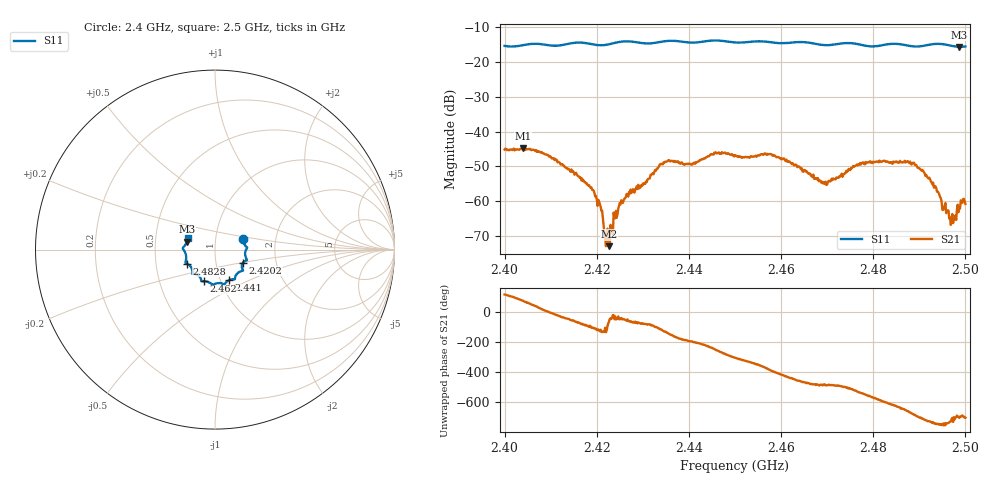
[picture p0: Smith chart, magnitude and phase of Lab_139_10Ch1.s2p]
# Hz S RI R 50
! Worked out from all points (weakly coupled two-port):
!   601 points, 2.4 GHz to 2.5 GHz, reference 50 ohm
!   highest |S21| = -44.75 dB at 2.404 GHz (marker M1); lowest = -72.8 dB at 2.4227 GHz (marker M2)
!   lowest |S11| = -15.8 dB at 2.4987 GHz (marker M3), VSWR 1.39, Z = 36.3 + j3.26 ohm
!   |S11| at or under -10 dB: start of sweep to end of sweep
!   S12 and S22 are empty: the file has one direction only
!   S11 on the Smith chart (normalised r, x): 2.4 GHz: 1.36, +0.17; 2.4202 GHz: 1.35, -0.20; 2.441 GHz: 1.10, -0.39; 2.462 GHz: 0.83, -0.30; 2.4828 GHz: 0.72, -0.12; 2.5 GHz: 0.73, +0.09
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2.4e9  0.1565 0.0608  -0.00219 0.00507  0 0  0 0
2.404e9  0.1711 0.0196  0.00177 0.00551  0 0  0 0
2.4095e9  0.1721 -0.00269  0.00457 -0.000104  0 0  0 0
2.416667e9  0.1777 -0.0592  0.000256 -0.00198  0 0  0 0
2.420167e9  0.1566 -0.072  -0.000427 -0.00075  0 0  0 0
2.422167e9  0.1493 -0.0908  -0.000174 -0.000286  0 0  0 0
2.422667e9  0.1491 -0.0956  9.9e-05 -0.000206  0 0  0 0
2.425333e9  0.1558 -0.1144  0.00077 -0.000699  0 0  0 0
2.433333e9  0.1126 -0.1519  -0.00107 -0.00286  0 0  0 0
2.441e9  0.0773 -0.1706  -0.0033 0.00134  0 0  0 0
2.446e9  0.0509 -0.1941  -0.00123 0.00471  0 0  0 0
2.45e9  0.027 -0.1865  0.00258 0.00382  0 0  0 0
2.462e9  -0.0618 -0.1761  0.000662 -0.00354  0 0  0 0
2.466667e9  -0.0773 -0.1672  -0.00107 -0.00205  0 0  0 0
2.469667e9  -0.093 -0.1448  -0.00117 -0.00152  0 0  0 0
2.477333e9  -0.1258 -0.1206  -0.00338 -9.96e-05  0 0  0 0
2.482833e9  -0.158 -0.0777  -0.00179 0.00324  0 0  0 0
2.483333e9  -0.1607 -0.0764  -0.00135 0.0034  0 0  0 0
2.4905e9  -0.1657 -0.0167  0.00268 0.000624  0 0  0 0
2.497e9  -0.1668 0.0245  0.000554 7.53e-05  0 0  0 0
2.498667e9  -0.1567 0.0436  0.000781 0.000241  0 0  0 0
2.5e9  -0.1531 0.062  0.000875 0.000288  0 0  0 0
